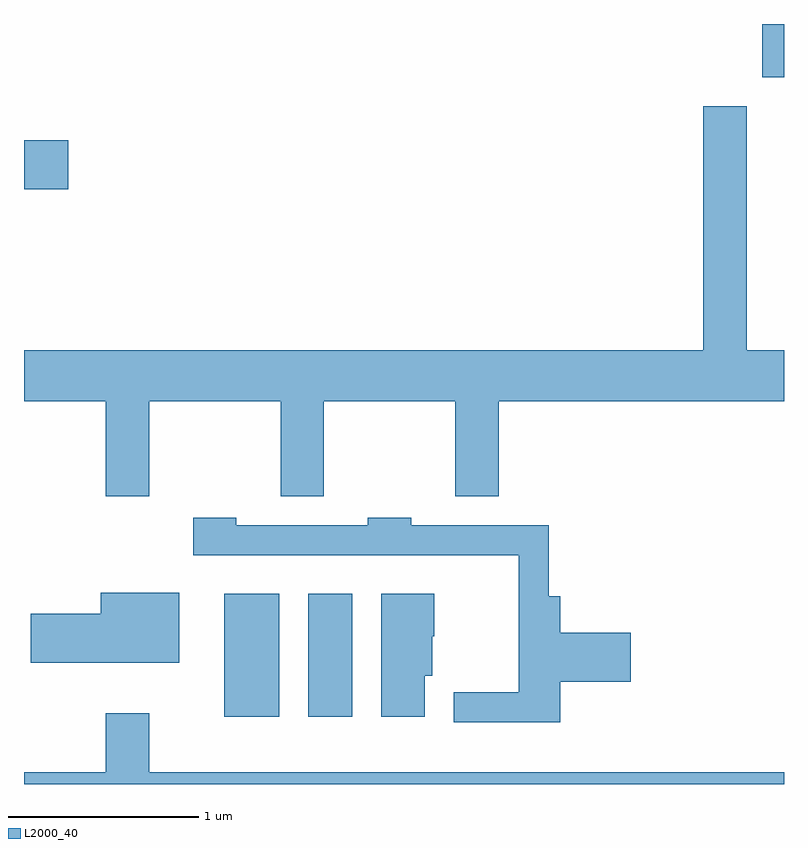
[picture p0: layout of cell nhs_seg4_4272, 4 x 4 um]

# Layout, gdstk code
import gdstk
lib = gdstk.Library(unit=1e-6, precision=1e-09)
def R(c, l, rs):  # rectangles x0, y0, x1, y1
    for r in rs: c.add(gdstk.rectangle(r[:2], r[2:], *l))
def P(c, l, *ps):  # polygons
    for p in ps: c.add(gdstk.Polygon(p, *l))
L2000_40 = (2000, 40)

nhs_seg4_4272 = lib.new_cell('nhs_seg4_4272')
R(nhs_seg4_4272, L2000_40, [(310.666,1366.336,310.954,1366.984), (311.106,1366.336,311.339,1366.984), (309.611,1369.111,309.844,1369.369), (313.496,1369.701,313.611,1369.982)])
P(nhs_seg4_4272, L2000_40, [(310.269,1367.996),(310.961,1367.996),(310.961,1367.496),(311.189,1367.496),(311.189,1367.996),(311.881,1367.996),(311.881,1367.496),(312.109,1367.496),(312.109,1367.996),(313.611,1367.996),(313.611,1368.264),(313.414,1368.264),(313.414,1369.549),(313.186,1369.549),(313.186,1368.264),(309.611,1368.264),(309.611,1367.996),(310.041,1367.996),(310.041,1367.496),(310.269,1367.496)],
  [(312.434,1366.521),(312.804,1366.521),(312.804,1366.779),(312.434,1366.779),(312.434,1366.969),(312.374,1366.969),(312.374,1367.344),(311.649,1367.344),(311.649,1367.384),(311.421,1367.384),(311.421,1367.344),(310.729,1367.344),(310.729,1367.384),(310.501,1367.384),(310.501,1367.186),(312.216,1367.186),(312.216,1366.464),(311.873,1366.464),(311.873,1366.306),(312.434,1366.306)],
  [(310.429,1366.989),(310.016,1366.989),(310.016,1366.879),(309.646,1366.879),(309.646,1366.621),(310.429,1366.621)],
  [(311.719,1366.551),(311.759,1366.551),(311.759,1366.76),(311.769,1366.76),(311.769,1366.984),(311.491,1366.984),(311.491,1366.336),(311.719,1366.336)],
  [(313.611,1366.044),(310.269,1366.044),(310.269,1366.354),(310.041,1366.354),(310.041,1366.044),(309.611,1366.044),(309.611,1365.982),(313.611,1365.982)])

lib.write_gds('nhs_seg4_4272.gds')
